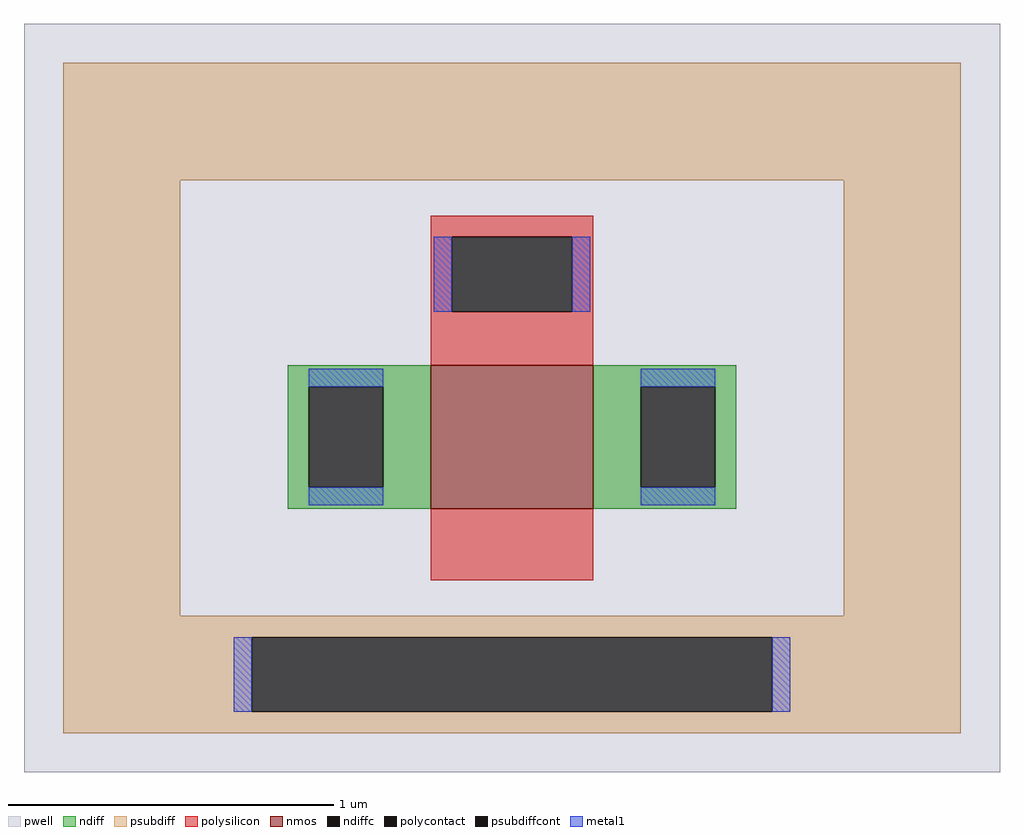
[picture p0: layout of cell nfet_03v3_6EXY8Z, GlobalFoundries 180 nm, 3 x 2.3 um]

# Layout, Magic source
magic
tech gf180mcuD
magscale 1 10
<< pwell >>
rect -300 -230 300 230
<< nmos >>
rect -50 -68 50 20
<< ndiff >>
rect -138 7 -50 20
rect -138 -55 -125 7
rect -79 -55 -50 7
rect -138 -68 -50 -55
rect 50 7 138 20
rect 50 -55 79 7
rect 125 -55 138 7
rect 50 -68 138 -55
<< ndiffc >>
rect -125 -55 -79 7
rect 79 -55 125 7
<< psubdiff >>
rect -276 134 276 206
rect -276 -134 -204 134
rect 204 -134 276 134
rect -276 -147 276 -134
rect -276 -193 -160 -147
rect 160 -193 276 -147
rect -276 -206 276 -193
<< psubdiffcont >>
rect -160 -193 160 -147
<< polysilicon >>
rect -50 99 50 112
rect -50 53 -37 99
rect 37 53 50 99
rect -50 20 50 53
rect -50 -112 50 -68
<< polycontact >>
rect -37 53 37 99
<< metal1 >>
rect -48 53 -37 99
rect 37 53 48 99
rect -125 7 -79 18
rect -125 -66 -79 -55
rect 79 7 125 18
rect 79 -66 125 -55
rect -171 -193 -160 -147
rect 160 -193 171 -147
<< properties >>
string FIXED_BBOX -240 -170 240 170
string gencell nfet_03v3
string library gf180mcu
string parameters w 0.44 l 0.5 m 1 nf 1 diffcov 100 polycov 100 guard 1 glc 0 grc 0 gtc 0 gbc 1 tbcov 100 rlcov 100 topc 1 botc 0 poverlap 0 doverlap 1 lmin 0.28 wmin 0.22 class mosfet full_metal 0 compatible {nfet_03v3 nfet_06v0 nfet_06v0_nvt}
<< end >>
